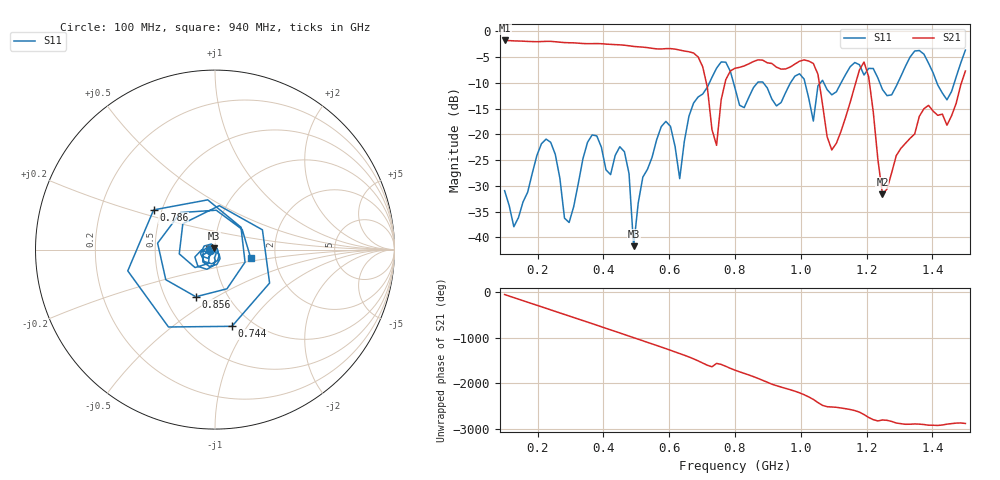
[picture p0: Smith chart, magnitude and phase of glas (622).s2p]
! NanoVNA-App
! Date: 2025-09-25 16:00:19
! Start: 100MHz Stop: 1,5GHz Points: 101
! S-Parameter data: F S11 S21 S12 S22
# Hz S RI R 50
!  Frequency  S11_Real  S11_Imag  S21_Real  S21_Imag  S12_Real  S12_Imag  S22_Real  S22_Imag
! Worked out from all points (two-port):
!   101 points, 100 MHz to 1.5 GHz, reference 50 ohm
!   highest |S21| = -1.80 dB at 100 MHz (marker M1); lowest = -31.6 dB at 1.248 GHz (marker M2)
!   |S21| within 3 dB of the highest: start of sweep to 684.4 MHz
!   lowest |S11| = -41.7 dB at 492 MHz (marker M3), VSWR 1.02, Z = 49.5 + j0.611 ohm
!   |S11| at or under -10 dB: start of sweep to 722.3 MHz; 795.5 MHz to 868.2 MHz (72.72 MHz wide, 8.74 % of centre); 885.8 MHz to 968.7 MHz (82.91 MHz wide, 8.94 % of centre) (the widest 3 of 7)
!   S12 and S22 are empty: the file has one direction only
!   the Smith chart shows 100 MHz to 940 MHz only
!   S11 on the Smith chart (normalised r, x): 100 MHz: 0.94, -0.01; 744 MHz: 0.81, -0.85; 786 MHz: 0.45, +0.24; 856 MHz: 0.71, -0.41; 940 MHz: 1.49, -0.14
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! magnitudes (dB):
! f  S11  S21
! 100 MHz  -30.9  -1.8
! 128 MHz  -37.9  -1.9
! 226 MHz  -20.9  -2.0
! 296 MHz  -37.1  -2.2
! 338 MHz  -24.7  -2.4
! 464 MHz  -23.4  -2.7
! 492 MHz  -41.7  -3.0
! 576 MHz  -18.5  -3.5
! 632 MHz  -28.6  -3.7
! 702 MHz  -12.2  -6.9
! 744 MHz  -7.2  -22.1
! 786 MHz  -7.8  -7.7
! 800 MHz  -11.1  -7.2
! 856 MHz  -10.9  -5.9
! 940 MHz  -13.8  -7.4
! 996 MHz  -8.3  -5.8
! 1.038 GHz  -17.4  -6.3
! 1.094 GHz  -12.3  -23.0
! 1.192 GHz  -8.5  -6.0
! 1.248 GHz  -11.3  -31.6
! 1.276 GHz  -12.3  -27.5
! 1.5 GHz  -3.7  -7.7
